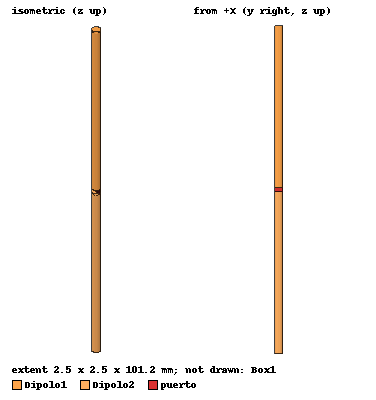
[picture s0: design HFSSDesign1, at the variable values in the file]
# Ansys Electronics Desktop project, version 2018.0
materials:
  vacuum: permittivity=1
  copper: permeability=0.999991 conductivity=58000000 mass_density=8933
  air: permittivity=1.0006 permeability=1.0000004 mass_density=1.1614

design HFSSDesign1 (HFSS, DrivenModal, model units mm)
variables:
  lambda = 200mm
  radio = 1.25mm
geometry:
  Dipolo1 [copper] = cylinder(axis=Z, base_centre=(0mm, 0mm, 0mm), radius=radio, height=lambda/4)
  Dipolo2 [copper] = cylinder(axis=Z, base_centre=(0mm, 0mm, -lambda/4-radio), radius=radio, height=lambda/4)
  puerto = rectangle(corner=(0mm, -radio, -radio), y_size=2*radio, z_size=radio)
  Box1 [air] = box(corner=(-lambda/4-radio, -lambda/4-radio, -lambda/2-radio), size=(lambda/2+2*radio, lambda/2+2*radio, lambda+radio))
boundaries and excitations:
  Rad1: Radiation Objects=Box1
  1: Lumped Port Objects=puerto Modes{Mode1{IntLine{middle of puerto.edge(z at corner) -> middle of puerto.edge(z opposite corner)} CharImp=Zpi RenormImp=50ohm}} Impedance=50ohm
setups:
  Setup1: HfssDriven Frequency=1.5GHz MaxDeltaS=0.02 MaximumPasses=6 MinimumPasses=1 MinimumConvergedPasses=1 PercentRefinement=30 BasisOrder=1 PortAccuracy=2
    sweep Sweep: 1GHz to 2GHz step 0.05GHz; Type=Interpolating InterpTolerance=0.5 InterpMaxSolns=250 InterpUsePortImped=false PassivityErrorTolerance=0.0001
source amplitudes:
  1:1: 1W 0deg
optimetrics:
  ParametricSetup1: Parametric Sim._Setups=[Setup1]
    sweep lambda: LIN 150mm 220mm 5mm
    calculate dB(S(1,1)) on Setup1 : Sweep at Freq 1.5GHz
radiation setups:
  Infinite Sphere1: Infinite Sphere Theta=0deg..360deg step 2deg Phi=-180deg..180deg step 2deg
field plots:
  Mag_Jsurf1: Jsurf over Dipolo1.face(all 3) Dipolo2.face(all 3) on Setup1 : LastAdaptive at Freq=1.5GHz Phase=0deg
  Local_SAR1: SAR Field in Box1 on Setup1 : LastAdaptive at Freq=1.5GHz Phase=0deg
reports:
  S Parameter Plot 1: dB(S(1,1)) vs Freq on Setup1 : Sweep; markers MX1 at x=1.495992e+09
  Z Parameter Plot 1: re(Z(1,1)), im(Z(1,1)) vs Freq on Setup1 : Sweep; markers MX1 at x=1.5010288e+09
  VSWR Plot 1: VSWR(1) vs Freq on Setup1 : Sweep; markers MX1 at x=1.4980119e+09
  Gain Plot 1: dB(GainTotal) vs Theta on Setup1 : LastAdaptive, Infinite Sphere1 [Phi=0deg Freq=1.5GHz]
  Gain Plot 2: dB(GainTotal) vs Phi, Theta on Setup1 : LastAdaptive, Infinite Sphere1 [Freq=1.5GHz]
  S Parameter Plot 2: dB(S(1,1)) vs Freq on Setup1 : Sweep [lambda=all]
